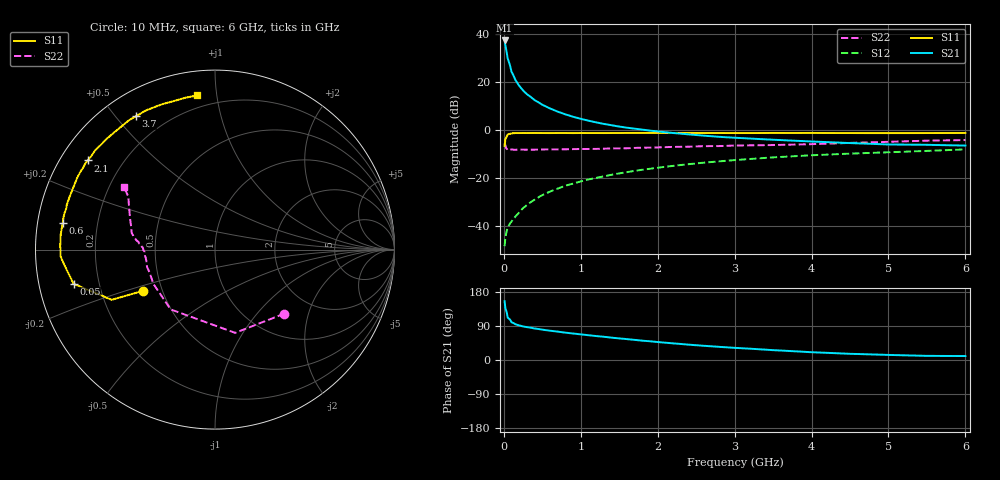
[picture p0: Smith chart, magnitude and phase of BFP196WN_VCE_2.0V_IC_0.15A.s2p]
! (c) 2017  Infineon Technologies AG, Munich
! Infineon Technologies  Discrete & RF Semiconductors
! BFP196WN
! VCE =  2.0 V,  IC = 0.15 A
! Common Emitter S-Parameters:  Jan 2017
# GHz  S  MA  R  50
!  f  S11  S21  S12  S22
! GHz  MAG  ANG  MAG  ANG  MAG  ANG  MAG  ANG
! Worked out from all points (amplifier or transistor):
!   77 points, 10 MHz to 6 GHz, reference 50 ohm
!   highest |S21| = 37.3 dB at 10 MHz (marker M1)
!   |S21| within 3 dB of that: start of sweep to 25.82 MHz
!   unconditionally stable (mu >= 1): start of sweep to 10.29 MHz; 179.2 MHz to end of sweep
!   at 130 MHz: K = 0.91, MSG = 29.6 dB, |S12| = -36.8 dB
!   at 2.2 GHz: K = 1.07, MAG = 5.2 dB, |S12| = -15.0 dB
!   at 6 GHz: K = 1.01, MAG = 0.2 dB, |S12| = -8.1 dB
!   S11 on the Smith chart (normalised r, x): 10 MHz: 0.39, -0.23; 50 MHz: 0.11, -0.12; 600 MHz: 0.08, +0.09; 2.1 GHz: 0.08, +0.31; 3.7 GHz: 0.10, +0.57; 6 GHz: 0.13, +0.88
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0.01  0.463 -150.2  72.96 155.1  0.0038 63.5  0.5261 -42.7
0.02  0.6405 -154.1  57.48 136.1  0.0057 54.1  0.4772 -76.4
0.05  0.8108 -166.4  30.76 111.6  0.0094 46.2  0.4148 -126.5
0.1  0.8454 -174.5  16.23 99.6  0.0124 54.5  0.3928 -150.8
0.15  0.8617 -177.6  11.02 94.4  0.0157 60.3  0.3862 -160.8
0.2  0.8611 -179.9  8.286 91.2  0.0192 65.5  0.3909 -165.5
0.25  0.8628 178.5  6.637 88.6  0.0235 68.3  0.3889 -168.2
0.3  0.8621 177.0  5.548 86.7  0.0274 69.7  0.3875 -170.9
0.4  0.8637 174.4  4.177 83.1  0.0354 72.4  0.3887 -173.3
0.5  0.862 172.3  3.348 80.1  0.0439 73.4  0.392 -175.3
0.6  0.8608 170.2  2.802 77.3  0.0521 74.1  0.3943 -176.9
0.7  0.8628 168.5  2.406 74.9  0.06 74.1  0.3929 -178.1
0.8  0.8628 166.5  2.11 72.2  0.0691 74.2  0.395 -178.8
0.9  0.8597 164.7  1.881 69.9  0.0763 72.9  0.3986 -179.5
1.1  0.8617 161.2  1.558 65.4  0.0929 72.0  0.4017 178.7
1.5  0.8626 154.7  1.175 57.0  0.1245 69.1  0.4131 176.2
2.1  0.8656 145.0  0.897 45.7  0.171 63.7  0.4378 173.5
3.1  0.8611 129.7  0.675 31.0  0.2418 53.9  0.4755 167.9
3.7  0.8637 120.7  0.604 23.9  0.2794 48.1  0.4925 162.6
4.1  0.864 115.0  0.566 19.7  0.3015 44.2  0.5115 158.2
5.1  0.8591 104.3  0.496 12.9  0.3472 35.9  0.572 148.2
6  0.8646 96.6  0.472 10.4  0.3933 29.5  0.6154 145.5
